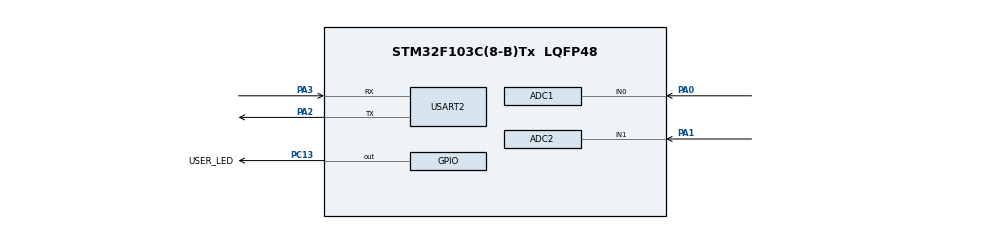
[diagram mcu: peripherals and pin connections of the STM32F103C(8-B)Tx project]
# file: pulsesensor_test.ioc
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ADC1.Channel-0\#ChannelRegularConversion=ADC_CHANNEL_0
ADC1.NbrOfConversion=1
ADC1.NbrOfConversionFlag=1
ADC1.Rank-0\#ChannelRegularConversion=1
ADC1.SamplingTime-0\#ChannelRegularConversion=ADC_SAMPLETIME_13CYCLES_5
ADC1.master=1
ADC2.Channel-2\#ChannelRegularConversion=ADC_CHANNEL_1
ADC2.NbrOfConversionFlag=1
ADC2.Rank-2\#ChannelRegularConversion=1
ADC2.SamplingTime-2\#ChannelRegularConversion=ADC_SAMPLETIME_1CYCLE_5
Mcu.Family=STM32F1
Mcu.Name=STM32F103C(8-B)Tx
Mcu.Package=LQFP48
NVIC.PriorityGroup=NVIC_PRIORITYGROUP_4
NVIC.TIM3_IRQn=true\:0\:0\:false\:false\:true\:true\:true
PA0-WKUP.Signal=ADCx_IN0
PA1.Signal=ADCx_IN1
PA13.Mode=Trace_Asynchronous_SW
PA13.Signal=SYS_JTMS-SWDIO
PA14.Mode=Trace_Asynchronous_SW
PA14.Signal=SYS_JTCK-SWCLK
PA2.Mode=Asynchronous
PA2.Signal=USART2_TX
PA3.Mode=Asynchronous
PA3.Signal=USART2_RX
PB3.Mode=Trace_Asynchronous_SW
PB3.Signal=SYS_JTDO-TRACESWO
PC13-TAMPER-RTC.GPIO_Label=USER_LED
PC13-TAMPER-RTC.Signal=GPIO_Output
ProjectManager.HeapSize=0x200
ProjectManager.StackSize=0x400
ProjectManager.TargetToolchain=MDK-ARM V5
RCC.APB1Freq_Value=8000000
RCC.APB2Freq_Value=8000000
SH.ADCx_IN0.0=ADC1_IN0,IN0
SH.ADCx_IN1.0=ADC2_IN1,IN1
TIM3.Period=1999
TIM3.Prescaler=7
USART2.VirtualMode=VM_ASYNC
VP_TIM3_VS_ClockSourceINT.Mode=Internal
board=pulsesensor_test

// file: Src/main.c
/**
  ******************************************************************************
  * File Name          : main.c
  * Description        : Main program body
  ******************************************************************************
  ** This notice applies to any and all portions of this file
  * that are not between comment pairs USER CODE BEGIN and
  * USER CODE END. Other portions of this file, whether
  * inserted by the user or by software development tools
  * are owned by their respective copyright owners.
  *
  * COPYRIGHT(c) 2021 STMicroelectronics
  *
  * Redistribution and use in source and binary forms, with or without modification,
  * are permitted provided that the following conditions are met:
  *   1. Redistributions of source code must retain the above copyright notice,
  *      this list of conditions and the following disclaimer.
  *   2. Redistributions in binary form must reproduce the above copyright notice,
  *      this list of conditions and the following disclaimer in the documentation
  *      and/or other materials provided with the distribution.
  *   3. Neither the name of STMicroelectronics nor the names of its contributors
  *      may be used to endorse or promote products derived from this software
  *      without specific prior written permission.
  *
  * THIS SOFTWARE IS PROVIDED BY THE COPYRIGHT HOLDERS AND CONTRIBUTORS "AS IS"
  * AND ANY EXPRESS OR IMPLIED WARRANTIES, INCLUDING, BUT NOT LIMITED TO, THE
  * IMPLIED WARRANTIES OF MERCHANTABILITY AND FITNESS FOR A PARTICULAR PURPOSE ARE
  * DISCLAIMED. IN NO EVENT SHALL THE COPYRIGHT HOLDER OR CONTRIBUTORS BE LIABLE
  * FOR ANY DIRECT, INDIRECT, INCIDENTAL, SPECIAL, EXEMPLARY, OR CONSEQUENTIAL
  * DAMAGES (INCLUDING, BUT NOT LIMITED TO, PROCUREMENT OF SUBSTITUTE GOODS OR
  * SERVICES; LOSS OF USE, DATA, OR PROFITS; OR BUSINESS INTERRUPTION) HOWEVER
  * CAUSED AND ON ANY THEORY OF LIABILITY, WHETHER IN CONTRACT, STRICT LIABILITY,
  * OR TORT (INCLUDING NEGLIGENCE OR OTHERWISE) ARISING IN ANY WAY OUT OF THE USE
  * OF THIS SOFTWARE, EVEN IF ADVISED OF THE POSSIBILITY OF SUCH DAMAGE.
  *
  ******************************************************************************
  */
#include "main.h"
#include "stm32f1xx_hal.h"

/* USER CODE BEGIN Includes */
#include "stdio.h"
/* USER CODE END Includes */

ADC_HandleTypeDef hadc1;
ADC_HandleTypeDef hadc2;

TIM_HandleTypeDef htim3;

UART_HandleTypeDef huart2;

/* USER CODE BEGIN PV */
/* Private variables ---------------------------------------------------------*/
#define true 1
#define false 0
int BPM;                   // used to hold the pulse rate
int Signal;                // holds the incoming raw data
int IBI = 600;             // holds the time between beats, must be seeded!
unsigned char Pulse = false;     // true when pulse wave is high, false when it's low
unsigned char QS = false;        // becomes true when Arduoino finds a beat.
int rate[10];                    // array to hold last ten IBI values
unsigned long sampleCounter = 0;          // used to determine pulse timing
unsigned long lastBeatTime = 0;           // used to find IBI
int P =512;                      // used to find peak in pulse wave, seeded
int T = 512;                     // used to find trough in pulse wave, seeded
int thresh = 512;                // used to find instant moment of heart beat, seeded
int amp = 100;                   // used to hold amplitude of pulse waveform, seeded
int Num;
unsigned char firstBeat = true;        // used to seed rate array so we startup with reasonable BPM
unsigned char secondBeat = false;      // used to seed rate array so we startup with reasonable BPM
/* USER CODE END PV */
int BPM2;                   // used to hold the pulse rate
int Signal2;                // holds the incoming raw data
int IBI2 = 600;             // holds the time between beats, must be seeded!
unsigned char Pulse2 = false;     // true when pulse wave is high, false when it's low
unsigned char QS2 = false;        // becomes true when Arduoino finds a beat.
int rate2[10];                    // array to hold last ten IBI values
unsigned long sampleCounter2 = 0;          // used to determine pulse timing
unsigned long lastBeatTime2 = 0;           // used to find IBI
int P2 =512;                      // used to find peak in pulse wave, seeded
int T2 = 512;                     // used to find trough in pulse wave, seeded
int thresh2 = 512;                // used to find instant moment of heart beat, seeded
int amp2 = 100;                   // used to hold amplitude of pulse waveform, seeded
int Num2;
unsigned char firstBeat2 = true;        // used to seed rate array so we startup with reasonable BPM
unsigned char secondBeat2 = false;      // used to seed rate array so we startup with reasonable BPM
/* USER CODE END PV */

void SystemClock_Config(void);
static void MX_GPIO_Init(void);
static void MX_ADC1_Init(void);
static void MX_ADC2_Init(void);
static void MX_TIM3_Init(void);
static void MX_USART2_UART_Init(void);

/* USER CODE BEGIN PFP */
/* Private function prototypes -----------------------------------------------*/
void sendDataToProcessing(char symbol, int dat );
#ifdef __GNUC__
  /* With GCC/RAISONANCE, small printf (option LD Linker->Libraries->Small printf
     set to 'Yes') calls __io_putchar() */
  #define PUTCHAR_PROTOTYPE int __io_putchar(int ch)
#else
  #define PUTCHAR_PROTOTYPE int fputc(int ch, FILE *f)
#endif /* __GNUC__ */
/* USER CODE END PFP */

int main(void)
{

  /* MCU Configuration----------------------------------------------------------*/

  /* Reset of all peripherals, Initializes the Flash interface and the Systick. */
  HAL_Init();

  /* Configure the system clock */
  SystemClock_Config();

  /* Initialize all configured peripherals */
  MX_GPIO_Init();
  MX_ADC1_Init();
  MX_ADC2_Init();
  MX_TIM3_Init();
  MX_USART2_UART_Init();

  /* USER CODE BEGIN 2 */
	HAL_TIM_Base_Start_IT(&htim3);
  /* USER CODE END 2 */

  /* Infinite loop */
  /* USER CODE BEGIN WHILE */
  while (1)
  {
		//sendDataToProcessing('S', Signal);     // send Processing the raw Pulse Sensor data
		printf("P1\r\n");
		printf("%d\r\n",Signal);
		printf("P2\r\n");
		printf("%d\r\n",Signal2);

		if (QS == 0x01)
		{
//				sendDataToProcessing('B',BPM);   // send heart rate with a 'B' prefix
//				sendDataToProcessing('Q',IBI);   // send time between beats with a 'Q' prefix
				printf("B1\r\n");
				printf("%d\r\n",BPM);
				printf("Q1\r\n");
				printf("%d\r\n",IBI);
				QS = 0x00;                      // reset the Quantified Self flag for next time
		}
		if (QS2 == 0x01)
		{
				printf("B2\r\n");
				printf("%d\r\n",BPM2);
				printf("Q2\r\n");
				printf("%d\r\n",IBI2);
				QS = 0x00;                      // reset the Quantified Self flag for next time
		}
		HAL_Delay(20);	//delay for 20ms
  /* USER CODE END WHILE */

  }

}

/** System Clock Configuration
*/
void SystemClock_Config(void)
{

  RCC_OscInitTypeDef RCC_OscInitStruct;
  RCC_ClkInitTypeDef RCC_ClkInitStruct;
  RCC_PeriphCLKInitTypeDef PeriphClkInit;

    /**Initializes the CPU, AHB and APB busses clocks
    */
  RCC_OscInitStruct.OscillatorType = RCC_OSCILLATORTYPE_HSI;
  RCC_OscInitStruct.HSIState = RCC_HSI_ON;
  RCC_OscInitStruct.HSICalibrationValue = 16;
  RCC_OscInitStruct.PLL.PLLState = RCC_PLL_NONE;
  if (HAL_RCC_OscConfig(&RCC_OscInitStruct) != HAL_OK)
  {
    _Error_Handler(__FILE__, __LINE__);
  }

    /**Initializes the CPU, AHB and APB busses clocks
    */
  RCC_ClkInitStruct.ClockType = RCC_CLOCKTYPE_HCLK|RCC_CLOCKTYPE_SYSCLK
                              |RCC_CLOCKTYPE_PCLK1|RCC_CLOCKTYPE_PCLK2;
  RCC_ClkInitStruct.SYSCLKSource = RCC_SYSCLKSOURCE_HSI;
  RCC_ClkInitStruct.AHBCLKDivider = RCC_SYSCLK_DIV1;
  RCC_ClkInitStruct.APB1CLKDivider = RCC_HCLK_DIV1;
  RCC_ClkInitStruct.APB2CLKDivider = RCC_HCLK_DIV1;

  if (HAL_RCC_ClockConfig(&RCC_ClkInitStruct, FLASH_LATENCY_0) != HAL_OK)
  {
    _Error_Handler(__FILE__, __LINE__);
  }

  PeriphClkInit.PeriphClockSelection = RCC_PERIPHCLK_ADC;
  PeriphClkInit.AdcClockSelection = RCC_ADCPCLK2_DIV2;
  if (HAL_RCCEx_PeriphCLKConfig(&PeriphClkInit) != HAL_OK)
  {
    _Error_Handler(__FILE__, __LINE__);
  }

    /**Configure the Systick interrupt time
    */
  HAL_SYSTICK_Config(HAL_RCC_GetHCLKFreq()/1000);

    /**Configure the Systick
    */
  HAL_SYSTICK_CLKSourceConfig(SYSTICK_CLKSOURCE_HCLK);

  /* SysTick_IRQn interrupt configuration */
  HAL_NVIC_SetPriority(SysTick_IRQn, 0, 0);
}

/* ADC1 init function */
static void MX_ADC1_Init(void)
{

  ADC_ChannelConfTypeDef sConfig;

    /**Common config
    */
  hadc1.Instance = ADC1;
  hadc1.Init.ScanConvMode = ADC_SCAN_DISABLE;
  hadc1.Init.ContinuousConvMode = DISABLE;
  hadc1.Init.DiscontinuousConvMode = DISABLE;
  hadc1.Init.ExternalTrigConv = ADC_SOFTWARE_START;
  hadc1.Init.DataAlign = ADC_DATAALIGN_RIGHT;
  hadc1.Init.NbrOfConversion = 1;
  if (HAL_ADC_Init(&hadc1) != HAL_OK)
  {
    _Error_Handler(__FILE__, __LINE__);
  }

    /**Configure Regular Channel
    */
  sConfig.Channel = ADC_CHANNEL_0;
  sConfig.Rank = 1;
  sConfig.SamplingTime = ADC_SAMPLETIME_13CYCLES_5;
  if (HAL_ADC_ConfigChannel(&hadc1, &sConfig) != HAL_OK)
  {
    _Error_Handler(__FILE__, __LINE__);
  }

}

/* ADC2 init function */
static void MX_ADC2_Init(void)
{

  ADC_ChannelConfTypeDef sConfig;

    /**Common config
    */
  hadc2.Instance = ADC2;
  hadc2.Init.ScanConvMode = ADC_SCAN_DISABLE;
  hadc2.Init.ContinuousConvMode = DISABLE;
  hadc2.Init.DiscontinuousConvMode = DISABLE;
  hadc2.Init.ExternalTrigConv = ADC_SOFTWARE_START;
  hadc2.Init.DataAlign = ADC_DATAALIGN_RIGHT;
  hadc2.Init.NbrOfConversion = 1;
  if (HAL_ADC_Init(&hadc2) != HAL_OK)
  {
    _Error_Handler(__FILE__, __LINE__);
  }

    /**Configure Regular Channel
    */
  sConfig.Channel = ADC_CHANNEL_1;
  sConfig.Rank = 1;
  sConfig.SamplingTime = ADC_SAMPLETIME_1CYCLE_5;
  if (HAL_ADC_ConfigChannel(&hadc2, &sConfig) != HAL_OK)
  {
    _Error_Handler(__FILE__, __LINE__);
  }

}

/* TIM3 init function */
static void MX_TIM3_Init(void)
{

  TIM_ClockConfigTypeDef sClockSourceConfig;
  TIM_MasterConfigTypeDef sMasterConfig;

  htim3.Instance = TIM3;
  htim3.Init.Prescaler = 7;
  htim3.Init.CounterMode = TIM_COUNTERMODE_UP;
  htim3.Init.Period = 1999;
  htim3.Init.ClockDivision = TIM_CLOCKDIVISION_DIV1;
  htim3.Init.AutoReloadPreload = TIM_AUTORELOAD_PRELOAD_DISABLE;
  if (HAL_TIM_Base_Init(&htim3) != HAL_OK)
  {
    _Error_Handler(__FILE__, __LINE__);
  }

  sClockSourceConfig.ClockSource = TIM_CLOCKSOURCE_INTERNAL;
  if (HAL_TIM_ConfigClockSource(&htim3, &sClockSourceConfig) != HAL_OK)
  {
    _Error_Handler(__FILE__, __LINE__);
  }

  sMasterConfig.MasterOutputTrigger = TIM_TRGO_RESET;
  sMasterConfig.MasterSlaveMode = TIM_MASTERSLAVEMODE_DISABLE;
  if (HAL_TIMEx_MasterConfigSynchronization(&htim3, &sMasterConfig) != HAL_OK)
  {
    _Error_Handler(__FILE__, __LINE__);
  }

}

/* USART2 init function */
static void MX_USART2_UART_Init(void)
{

  huart2.Instance = USART2;
  huart2.Init.BaudRate = 115200;
  huart2.Init.WordLength = UART_WORDLENGTH_8B;
  huart2.Init.StopBits = UART_STOPBITS_1;
  huart2.Init.Parity = UART_PARITY_NONE;
  huart2.Init.Mode = UART_MODE_TX_RX;
  huart2.Init.HwFlowCtl = UART_HWCONTROL_NONE;
  huart2.Init.OverSampling = UART_OVERSAMPLING_16;
  if (HAL_UART_Init(&huart2) != HAL_OK)
  {
    _Error_Handler(__FILE__, __LINE__);
  }

}

/** Configure pins as
        * Analog
        * Input
        * Output
        * EVENT_OUT
        * EXTI
*/
static void MX_GPIO_Init(void)
{

  GPIO_InitTypeDef GPIO_InitStruct;

  /* GPIO Ports Clock Enable */
  __HAL_RCC_GPIOC_CLK_ENABLE();
  __HAL_RCC_GPIOA_CLK_ENABLE();
  __HAL_RCC_GPIOB_CLK_ENABLE();

  /*Configure GPIO pin Output Level */
  HAL_GPIO_WritePin(USER_LED_GPIO_Port, USER_LED_Pin, GPIO_PIN_RESET);

  /*Configure GPIO pin : USER_LED_Pin */
  GPIO_InitStruct.Pin = USER_LED_Pin;
  GPIO_InitStruct.Mode = GPIO_MODE_OUTPUT_PP;
  GPIO_InitStruct.Speed = GPIO_SPEED_FREQ_LOW;
  HAL_GPIO_Init(USER_LED_GPIO_Port, &GPIO_InitStruct);

}

/* USER CODE BEGIN 4 */
PUTCHAR_PROTOTYPE
{
  /* Place your implementation of fputc here */
  /* e.g. write a character to the EVAL_COM1 and Loop until the end of transmission */
  HAL_UART_Transmit(&huart2, (uint8_t *)&ch, 1, 0xFFFF);

  return ch;
}

void HAL_TIM_PeriodElapsedCallback(TIM_HandleTypeDef *htim)
{
	unsigned int runningTotal;
	unsigned int runningTotal2;
	if(htim->Instance==htim3.Instance)
	{
		Signal=HAL_ADC_GetValue(&hadc1)>>2;					 // read the Pulse Senso
		sampleCounter += 2;                         // keep track of the time in mS with this variable
		Num = sampleCounter - lastBeatTime;       // monitor the time since the last beat to avoid noise
		HAL_ADC_Start(&hadc1);									//restart ADC conversion

		//  find the peak and trough of the pulse wave
  if(Signal < thresh && Num > (IBI/5)*3){       // avoid dichrotic noise by waiting 3/5 of last IBI
    if (Signal < T){                        // T is the trough
      T = Signal;                         // keep track of lowest point in pulse wave
    }
  }

  if(Signal > thresh && Signal > P){          // thresh condition helps avoid noise
    P = Signal;                             // P is the peak
  }                                        // keep track of highest point in pulse wave

  //  NOW IT'S TIME TO LOOK FOR THE HEART BEAT
  // signal surges up in value every time there is a pulse
  if (Num > 250){                                   // avoid high frequency noise
    if ( (Signal > thresh) && (Pulse == false) && (Num > (IBI/5)*3) ){
      Pulse = true;                               // set the Pulse flag when we think there is a pulse
      HAL_GPIO_WritePin(GPIOC,GPIO_PIN_13,GPIO_PIN_SET);                // turn on pin 13 LED
      IBI = sampleCounter - lastBeatTime;         // measure time between beats in mS
      lastBeatTime = sampleCounter;               // keep track of time for next pulse

      if(secondBeat){                        // if this is the second beat, if secondBeat == TRUE
        secondBeat = false;                  // clear secondBeat flag
        for(int i=0; i<=9; i++){             // seed the running total to get a realisitic BPM at startup
          rate[i] = IBI;
        }
      }

      if(firstBeat){                         // if it's the first time we found a beat, if firstBeat == TRUE
        firstBeat = false;                   // clear firstBeat flag
        secondBeat = true;                   // set the second beat flag
 //       sei();                               // enable interrupts again
        return;                              // IBI value is unreliable so discard it
      }

      // keep a running total of the last 10 IBI values
      runningTotal = 0;                  // clear the runningTotal variable

      for(int i=0; i<=8; i++){                // shift data in the rate array
        rate[i] = rate[i+1];                  // and drop the oldest IBI value
        runningTotal += rate[i];              // add up the 9 oldest IBI values
      }

      rate[9] = IBI;                          // add the latest IBI to the rate array
      runningTotal += rate[9];                // add the latest IBI to runningTotal
      runningTotal /= 10;                     // average the last 10 IBI values
      BPM = 60000/runningTotal;               // how many beats can fit into a minute? that's BPM!
      QS = 0x01;                              // set Quantified Self flag
      // QS FLAG IS NOT CLEARED INSIDE THIS ISR
    }
  }

  if (Signal < thresh && Pulse == true){   // when the values are going down, the beat is over
     HAL_GPIO_WritePin(GPIOC,GPIO_PIN_13,GPIO_PIN_RESET);            // turn off pin 13 LED
    Pulse = false;                         // reset the Pulse flag so we can do it again
    amp = P - T;                           // get amplitude of the pulse wave
    thresh = amp/2 + T;                    // set thresh at 50% of the amplitude
    P = thresh;                            // reset these for next time
    T = thresh;
  }

  if (Num > 2500){                           // if 2.5 seconds go by without a beat
    thresh = 512;                          // set thresh default
    P = 512;                               // set P default
    T = 512;                               // set T default
    lastBeatTime = sampleCounter;          // bring the lastBeatTime up to date
    firstBeat = true;                      // set these to avoid noise
    secondBeat = false;                    // when we get the heartbeat back

  }

	//part2

		Signal2=HAL_ADC_GetValue(&hadc2)>>2;					 // read the Pulse Senso
		sampleCounter2 += 2;                         // keep track of the time in mS with this variable
		Num2 = sampleCounter2 - lastBeatTime2;       // monitor the time since the last beat to avoid noise
		HAL_ADC_Start(&hadc2);									//restart ADC conversion

		//  find the peak and trough of the pulse wave
  if(Signal2 < thresh2 && Num2 > (IBI2/5)*3){       // avoid dichrotic noise by waiting 3/5 of last IBI
    if (Signal2 < T2){                        // T is the trough
      T2 = Signal2;                         // keep track of lowest point in pulse wave
    }
  }

  if(Signal2 > thresh2 && Signal2 > P2){          // thresh condition helps avoid noise
    P2 = Signal2;                             // P is the peak
  }                                        // keep track of highest point in pulse wave

  //  NOW IT'S TIME TO LOOK FOR THE HEART BEAT
  // signal surges up in value every time there is a pulse
  if (Num2 > 250){                                   // avoid high frequency noise
    if ( (Signal2 > thresh2) && (Pulse2 == false) && (Num2 > (IBI2/5)*3) ){
      Pulse2 = true;                               // set the Pulse flag when we think there is a pulse
      //HAL_GPIO_WritePin(GPIOC,GPIO_PIN_13,GPIO_PIN_SET);                // turn on pin 13 LED
      IBI2 = sampleCounter2 - lastBeatTime2;         // measure time between beats in mS
      lastBeatTime2 = sampleCounter2;               // keep track of time for next pulse

      if(secondBeat2){                        // if this is the second beat, if secondBeat == TRUE
        secondBeat2 = false;                  // clear secondBeat flag
        for(int i=0; i<=9; i++){             // seed the running total to get a realisitic BPM at startup
          rate2[i] = IBI2;
        }
      }

      if(firstBeat2){                         // if it's the first time we found a beat, if firstBeat == TRUE
        firstBeat2 = false;                   // clear firstBeat flag
        secondBeat2 = true;                   // set the second beat flag
 //       sei();                               // enable interrupts again
        return;                              // IBI value is unreliable so discard it
      }

      // keep a running total of the last 10 IBI values
      runningTotal2 = 0;                  // clear the runningTotal variable

      for(int i=0; i<=8; i++){                // shift data in the rate array
        rate2[i] = rate2[i+1];                  // and drop the oldest IBI value
        runningTotal2 += rate2[i];              // add up the 9 oldest IBI values
      }

      rate2[9] = IBI2;                          // add the latest IBI to the rate array
      runningTotal2 += rate2[9];                // add the latest IBI to runningTotal
      runningTotal2 /= 10;                     // average the last 10 IBI values
      BPM2 = 60000/runningTotal2;               // how many beats can fit into a minute? that's BPM!
      QS2 = 0x01;                              // set Quantified Self flag
      // QS FLAG IS NOT CLEARED INSIDE THIS ISR
    }
  }

  if (Signal2 < thresh2 && Pulse2 == true){   // when the values are going down, the beat is over
     //HAL_GPIO_WritePin(GPIOC,GPIO_PIN_13,GPIO_PIN_RESET);            // turn off pin 13 LED
    Pulse2 = false;                         // reset the Pulse flag so we can do it again
    amp2 = P2 - T2;                           // get amplitude of the pulse wave
    thresh2 = amp2/2 + T2;                    // set thresh at 50% of the amplitude
    P2 = thresh2;                            // reset these for next time
    T2 = thresh2;
  }

  if (Num2 > 2500){                           // if 2.5 seconds go by without a beat
    thresh2 = 512;                          // set thresh default
    P2 = 512;                               // set P default
    T2 = 512;                               // set T default
    lastBeatTime2 = sampleCounter2;          // bring the lastBeatTime up to date
    firstBeat2 = true;                      // set these to avoid noise
    secondBeat2 = false;                    // when we get the heartbeat back

  }
	//part2 ends

	}
}

void sendDataToProcessing(char symbol, int dat )
{
    putchar(symbol);                // symbol prefix tells Processing what type of data is coming
		printf("%d\r\n",dat);						// the data to send culminating in a carriage return
}
/* USER CODE END 4 */

void _Error_Handler(char * file, int line)
{
  while(1)
  {
  }
}

/************************ (C) COPYRIGHT STMicroelectronics *****END OF FILE****/
